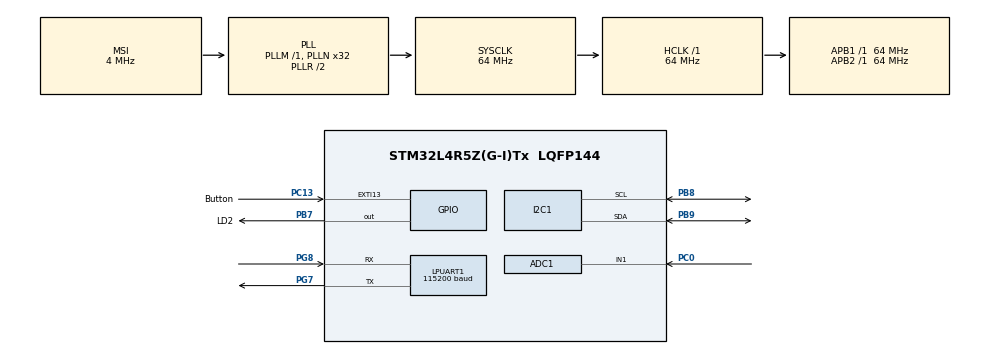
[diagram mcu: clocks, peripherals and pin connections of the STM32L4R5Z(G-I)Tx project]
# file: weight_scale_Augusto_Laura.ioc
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ADC1.Channel-0\#ChannelRegularConversion=ADC_CHANNEL_1
ADC1.NbrOfConversionFlag=1
ADC1.OffsetNumber-0\#ChannelRegularConversion=ADC_OFFSET_NONE
ADC1.OversamplingMode=DISABLE
ADC1.Rank-0\#ChannelRegularConversion=1
ADC1.Resolution=ADC_RESOLUTION_10B
ADC1.SamplingTime-0\#ChannelRegularConversion=ADC_SAMPLETIME_12CYCLES_5
ADC1.master=1
I2C1.Timing=0x10707DBC
LPUART1.BaudRate=115200
LPUART1.WordLength=UART_WORDLENGTH_8B
Mcu.Family=STM32L4
Mcu.Name=STM32L4R5Z(G-I)Tx
Mcu.Package=LQFP144
NVIC.ADC1_IRQn=true\:0\:0\:false\:false\:true\:true\:true\:true
NVIC.EXTI15_10_IRQn=true\:0\:0\:false\:false\:true\:true\:true\:true
NVIC.PriorityGroup=NVIC_PRIORITYGROUP_4
PB7.GPIO_Label=LD2
PB7.Signal=GPIO_Output
PB8.Mode=I2C
PB8.Signal=I2C1_SCL
PB9.Mode=I2C
PB9.Signal=I2C1_SDA
PC0.Signal=ADCx_IN1
PC13.GPIO_Label=Button
PC13.Signal=GPXTI13
PG7.Mode=Asynchronous
PG7.Signal=LPUART1_TX
PG8.Mode=Asynchronous
PG8.Signal=LPUART1_RX
ProjectManager.HeapSize=0x200
ProjectManager.StackSize=0x400
ProjectManager.TargetToolchain=STM32CubeIDE
RCC.AHBFreq_Value=64000000
RCC.APB1Freq_Value=64000000
RCC.APB1TimFreq_Value=64000000
RCC.APB2Freq_Value=64000000
RCC.APB2TimFreq_Value=64000000
RCC.CortexFreq_Value=64000000
RCC.HCLKFreq_Value=64000000
RCC.HSE_VALUE=8000000
RCC.HSI48_VALUE=48000000
RCC.HSI_VALUE=16000000
RCC.LSE_VALUE=32768
RCC.MSI_VALUE=4000000
RCC.PLLN=32
RCC.SYSCLKFreq_VALUE=64000000
RCC.SYSCLKSource=RCC_SYSCLKSOURCE_PLLCLK
RCC.VCOOutputFreq_Value=128000000
SH.ADCx_IN1.0=ADC1_IN1,IN1-Single-Ended
board=custom

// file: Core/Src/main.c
/* USER CODE BEGIN Header */
/**
  ******************************************************************************
  * @file           : main.c
  * @brief          : Main program body
  ******************************************************************************
  * @attention
  *
  * Copyright (c) 2023 STMicroelectronics.
  * All rights reserved.
  *
  * This software is licensed under terms that can be found in the LICENSE file
  * in the root directory of this software component.
  * If no LICENSE file comes with this software, it is provided AS-IS.
  *
  ******************************************************************************
  */
/* USER CODE END Header */
#include "main.h"

/* USER CODE BEGIN Includes */
#include <stdio.h>
#include <string.h>
#include <stdlib.h>
#include <stdbool.h>
#include "liquidcrystal_i2c.h"
/* USER CODE END Includes */

/* USER CODE BEGIN PM */
#define MEAN_SAMPLES 1024
#define CAL_SAMPLES 64
#define THRESHOLD 3
#define ALFA 0.01
/* USER CODE END PM */

ADC_HandleTypeDef hadc1;

I2C_HandleTypeDef hi2c1;

UART_HandleTypeDef hlpuart1;

/* USER CODE BEGIN PV */
char msg[100];
uint32_t adc_value = 0;
double aux = 0.0;
double mean = 0.0;
double filter = 0.0;
double adc_avg = 0.0;
double weight = 0.0;
double offset = 0.0;
double tare_weight = 0.0; /*for tara*/
bool tara = false; /*tara flag*/
bool check = false;
/* USER CODE END PV */

void SystemClock_Config(void);
static void MX_GPIO_Init(void);
static void MX_ADC1_Init(void);
static void MX_LPUART1_UART_Init(void);
static void MX_I2C1_Init(void);

/* USER CODE BEGIN 0 */
bool is_ready(void);
uint32_t read_adc(void);
double get_adc_average(void);
void get_weight(double adc_mean);
void show_weight(void);
void reset_param(void);
void calibrate(void);
/* USER CODE END 0 */

int main(void)
{

  /* MCU Configuration--------------------------------------------------------*/

  /* Reset of all peripherals, Initializes the Flash interface and the Systick. */
  HAL_Init();

  /* Configure the system clock */
  SystemClock_Config();

  /* Initialize all configured peripherals */
  MX_GPIO_Init();
  MX_ADC1_Init();
  MX_LPUART1_UART_Init();
  MX_I2C1_Init();
  /* USER CODE BEGIN 2 */
  HD44780_Init(2);
  HAL_ADCEx_Calibration_Start(&hadc1,ADC_SINGLE_ENDED);
  calibrate();
  show_weight(); /*mostrar inicialmente(0.0g)sera reusada*/
  /* USER CODE END 2 */

  /* Infinite loop */
  /* USER CODE BEGIN WHILE */
  while (1)
  {
	  if (is_ready())
	  {
		adc_avg = get_adc_average();
	  	get_weight(adc_avg);
	  	show_weight();

	  	/*debug*/
		sprintf(msg, "\r\n Weight: %0.2f g", weight);
		HAL_UART_Transmit(&hlpuart1,(uint8_t*)msg, strlen(msg), 100);

	  	reset_param();
	  	HAL_Delay(500);
	  }
    /* USER CODE END WHILE */

  }
}

void SystemClock_Config(void)
{
  RCC_OscInitTypeDef RCC_OscInitStruct = {0};
  RCC_ClkInitTypeDef RCC_ClkInitStruct = {0};

  /** Configure the main internal regulator output voltage
  */
  if (HAL_PWREx_ControlVoltageScaling(PWR_REGULATOR_VOLTAGE_SCALE1) != HAL_OK)
  {
    Error_Handler();
  }

  /** Initializes the RCC Oscillators according to the specified parameters
  * in the RCC_OscInitTypeDef structure.
  */
  RCC_OscInitStruct.OscillatorType = RCC_OSCILLATORTYPE_MSI;
  RCC_OscInitStruct.MSIState = RCC_MSI_ON;
  RCC_OscInitStruct.MSICalibrationValue = 0;
  RCC_OscInitStruct.MSIClockRange = RCC_MSIRANGE_6;
  RCC_OscInitStruct.PLL.PLLState = RCC_PLL_ON;
  RCC_OscInitStruct.PLL.PLLSource = RCC_PLLSOURCE_MSI;
  RCC_OscInitStruct.PLL.PLLM = 1;
  RCC_OscInitStruct.PLL.PLLN = 32;
  RCC_OscInitStruct.PLL.PLLP = RCC_PLLP_DIV2;
  RCC_OscInitStruct.PLL.PLLQ = RCC_PLLQ_DIV2;
  RCC_OscInitStruct.PLL.PLLR = RCC_PLLR_DIV2;
  if (HAL_RCC_OscConfig(&RCC_OscInitStruct) != HAL_OK)
  {
    Error_Handler();
  }

  /** Initializes the CPU, AHB and APB buses clocks
  */
  RCC_ClkInitStruct.ClockType = RCC_CLOCKTYPE_HCLK|RCC_CLOCKTYPE_SYSCLK
                              |RCC_CLOCKTYPE_PCLK1|RCC_CLOCKTYPE_PCLK2;
  RCC_ClkInitStruct.SYSCLKSource = RCC_SYSCLKSOURCE_PLLCLK;
  RCC_ClkInitStruct.AHBCLKDivider = RCC_SYSCLK_DIV1;
  RCC_ClkInitStruct.APB1CLKDivider = RCC_HCLK_DIV1;
  RCC_ClkInitStruct.APB2CLKDivider = RCC_HCLK_DIV1;

  if (HAL_RCC_ClockConfig(&RCC_ClkInitStruct, FLASH_LATENCY_3) != HAL_OK)
  {
    Error_Handler();
  }
}

static void MX_ADC1_Init(void)
{

  ADC_ChannelConfTypeDef sConfig = {0};

  /** Common config
  */
  hadc1.Instance = ADC1;
  hadc1.Init.ClockPrescaler = ADC_CLOCK_ASYNC_DIV1;
  hadc1.Init.Resolution = ADC_RESOLUTION_10B;
  hadc1.Init.DataAlign = ADC_DATAALIGN_RIGHT;
  hadc1.Init.ScanConvMode = ADC_SCAN_DISABLE;
  hadc1.Init.EOCSelection = ADC_EOC_SINGLE_CONV;
  hadc1.Init.LowPowerAutoWait = DISABLE;
  hadc1.Init.ContinuousConvMode = DISABLE;
  hadc1.Init.NbrOfConversion = 1;
  hadc1.Init.DiscontinuousConvMode = DISABLE;
  hadc1.Init.ExternalTrigConv = ADC_SOFTWARE_START;
  hadc1.Init.ExternalTrigConvEdge = ADC_EXTERNALTRIGCONVEDGE_NONE;
  hadc1.Init.DMAContinuousRequests = DISABLE;
  hadc1.Init.Overrun = ADC_OVR_DATA_PRESERVED;
  hadc1.Init.OversamplingMode = DISABLE;
  if (HAL_ADC_Init(&hadc1) != HAL_OK)
  {
    Error_Handler();
  }

  /** Configure Regular Channel
  */
  sConfig.Channel = ADC_CHANNEL_1;
  sConfig.Rank = ADC_REGULAR_RANK_1;
  sConfig.SamplingTime = ADC_SAMPLETIME_12CYCLES_5;
  sConfig.SingleDiff = ADC_SINGLE_ENDED;
  sConfig.OffsetNumber = ADC_OFFSET_NONE;
  sConfig.Offset = 0;
  if (HAL_ADC_ConfigChannel(&hadc1, &sConfig) != HAL_OK)
  {
    Error_Handler();
  }

}

static void MX_I2C1_Init(void)
{

  hi2c1.Instance = I2C1;
  hi2c1.Init.Timing = 0x10707DBC;
  hi2c1.Init.OwnAddress1 = 0;
  hi2c1.Init.AddressingMode = I2C_ADDRESSINGMODE_7BIT;
  hi2c1.Init.DualAddressMode = I2C_DUALADDRESS_DISABLE;
  hi2c1.Init.OwnAddress2 = 0;
  hi2c1.Init.OwnAddress2Masks = I2C_OA2_NOMASK;
  hi2c1.Init.GeneralCallMode = I2C_GENERALCALL_DISABLE;
  hi2c1.Init.NoStretchMode = I2C_NOSTRETCH_DISABLE;
  if (HAL_I2C_Init(&hi2c1) != HAL_OK)
  {
    Error_Handler();
  }

  /** Configure Analogue filter
  */
  if (HAL_I2CEx_ConfigAnalogFilter(&hi2c1, I2C_ANALOGFILTER_ENABLE) != HAL_OK)
  {
    Error_Handler();
  }

  /** Configure Digital filter
  */
  if (HAL_I2CEx_ConfigDigitalFilter(&hi2c1, 0) != HAL_OK)
  {
    Error_Handler();
  }

}

static void MX_LPUART1_UART_Init(void)
{

  hlpuart1.Instance = LPUART1;
  hlpuart1.Init.BaudRate = 115200;
  hlpuart1.Init.WordLength = UART_WORDLENGTH_8B;
  hlpuart1.Init.StopBits = UART_STOPBITS_1;
  hlpuart1.Init.Parity = UART_PARITY_NONE;
  hlpuart1.Init.Mode = UART_MODE_TX_RX;
  hlpuart1.Init.HwFlowCtl = UART_HWCONTROL_NONE;
  hlpuart1.Init.OneBitSampling = UART_ONE_BIT_SAMPLE_DISABLE;
  hlpuart1.Init.ClockPrescaler = UART_PRESCALER_DIV1;
  hlpuart1.AdvancedInit.AdvFeatureInit = UART_ADVFEATURE_NO_INIT;
  hlpuart1.FifoMode = UART_FIFOMODE_DISABLE;
  if (HAL_UART_Init(&hlpuart1) != HAL_OK)
  {
    Error_Handler();
  }
  if (HAL_UARTEx_SetTxFifoThreshold(&hlpuart1, UART_TXFIFO_THRESHOLD_1_8) != HAL_OK)
  {
    Error_Handler();
  }
  if (HAL_UARTEx_SetRxFifoThreshold(&hlpuart1, UART_RXFIFO_THRESHOLD_1_8) != HAL_OK)
  {
    Error_Handler();
  }
  if (HAL_UARTEx_DisableFifoMode(&hlpuart1) != HAL_OK)
  {
    Error_Handler();
  }

}

static void MX_GPIO_Init(void)
{
  GPIO_InitTypeDef GPIO_InitStruct = {0};

  /* GPIO Ports Clock Enable */
  __HAL_RCC_GPIOC_CLK_ENABLE();
  __HAL_RCC_GPIOG_CLK_ENABLE();
  HAL_PWREx_EnableVddIO2();
  __HAL_RCC_GPIOB_CLK_ENABLE();

  /*Configure GPIO pin Output Level */
  HAL_GPIO_WritePin(LD2_GPIO_Port, LD2_Pin, GPIO_PIN_RESET);

  /*Configure GPIO pin : Button_Pin */
  GPIO_InitStruct.Pin = Button_Pin;
  GPIO_InitStruct.Mode = GPIO_MODE_IT_RISING;
  GPIO_InitStruct.Pull = GPIO_NOPULL;
  HAL_GPIO_Init(Button_GPIO_Port, &GPIO_InitStruct);

  /*Configure GPIO pin : LD2_Pin */
  GPIO_InitStruct.Pin = LD2_Pin;
  GPIO_InitStruct.Mode = GPIO_MODE_OUTPUT_PP;
  GPIO_InitStruct.Pull = GPIO_NOPULL;
  GPIO_InitStruct.Speed = GPIO_SPEED_FREQ_LOW;
  HAL_GPIO_Init(LD2_GPIO_Port, &GPIO_InitStruct);

  /* EXTI interrupt init*/
  HAL_NVIC_SetPriority(EXTI15_10_IRQn, 0, 0);
  HAL_NVIC_EnableIRQ(EXTI15_10_IRQn);

}

/* USER CODE BEGIN 4 */

/**
  * @brief  calibra e encontra um offset de forma dinamica
  * @retval none
  */
void calibrate(void){

	double avg = 0.0;

	for (int i = 0; i < CAL_SAMPLES ; i++)
	{
		avg += get_adc_average();
		HAL_Delay(10); // remover depois
	}
	offset = avg / CAL_SAMPLES;
}

/**
  * @brief  mostra o peso no LCD DISPlAY
  * @retval none
  */
void show_weight(void)
{
	  sprintf(msg, "%0.2f g ", weight);
	  HD44780_Clear();
	  HD44780_SetCursor(2,0);
	  HD44780_PrintStr("Weight Scale");
	  HD44780_SetCursor(10,1);
	  HD44780_SetCursor(4,1);
	  HD44780_PrintStr(msg);
	  HD44780_SetCursor(10,1);
}
/**
  * @brief  calcula o peso
  * @retval none
  */
void get_weight(double adc_mean)
{
	double aux = 0.0;

	aux = adc_mean - offset;

	if( adc_mean < offset)
	{
		weight = 0.0;
	}else{
		weight = (7.62941404 * aux + 4.22272973) - tare_weight;
	}
}

/**
  * @brief  calcula a media das leituras do adc
  * @retval media do adc
  */
double get_adc_average(void)
{
	uint32_t adc = 0;
	double sum = 0.0;
	double average = 0.0;

	for(int i = 0; i < MEAN_SAMPLES; i++)
	{
		adc = read_adc();
		filter = adc*ALFA +(1-ALFA)*filter;
		sum += filter;
	}
	average = sum / (double)MEAN_SAMPLES;

	return average;
}

uint32_t read_adc(void)
{
	/*just for test, improve with timers reading periodically*/
	HAL_ADC_Start(&hadc1);
	HAL_ADC_PollForConversion(&hadc1, HAL_MAX_DELAY);
	adc_value = HAL_ADC_GetValue(&hadc1);
	return adc_value;
}

/**
  * @brief  check if adc is reading something....
  * @retval bool: true if there is an object placed, else false
  */
bool is_ready(void)
{
	double check_weight = 0.0;

	check_weight = get_adc_average();

	if ( (offset + THRESHOLD ) < check_weight )
	{
		return true;
	}
	return false;
}

void reset_param(void)
{
	adc_avg = 0;
	mean = 0;
	weight = 0.0;
}

/**
  * @brief  check if adc is reading something....
  * @retval bool: true if there is an object placed, else false
  */
void HAL_GPIO_EXTI_Callback(uint16_t GPIO_Pin)
{
	if(GPIO_Pin == Button_Pin)
	{
		if(!tara)
		{
			tare_weight = weight;
			tara = true;
			HAL_GPIO_WritePin(LD2_GPIO_Port, LD2_Pin, SET);

		}else
		{
			tare_weight = 0.0;
			tara = false;
			HAL_GPIO_WritePin(LD2_GPIO_Port, LD2_Pin, RESET);
		}
	}
}
/* USER CODE END 4 */

void Error_Handler(void)
{
  __disable_irq();
  while (1)
  {
  }
}
